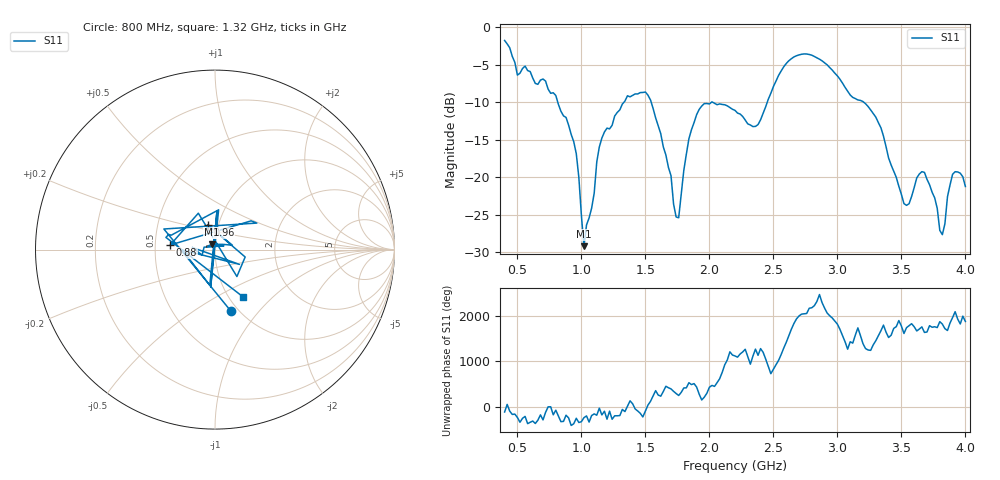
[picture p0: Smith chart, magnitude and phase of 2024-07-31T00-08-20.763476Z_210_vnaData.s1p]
!Created with skrf (http://scikit-rf.org).
# Hz S RI R 50.0
!freq ReS11 ImS11
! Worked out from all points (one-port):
!   181 points, 400 MHz to 4 GHz, reference 50 ohm
!   lowest |S11| = -29.2 dB at 1.02 GHz (marker M1), VSWR 1.07, Z = 48.1 + j2.85 ohm
!   |S11| at or under -10 dB: 815.7 MHz to 1.331 GHz (515.5 MHz wide, 48 % of centre); 1.546 GHz to 2.015 GHz (469.3 MHz wide, 26.4 % of centre); 3.207 GHz to end of sweep (the widest 3 of 4)
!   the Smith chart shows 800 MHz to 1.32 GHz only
!   S11 on the Smith chart (normalised r, x): 800 MHz: 0.92, -0.72; 880 MHz: 0.60, +0.03; 960 MHz: 0.89, +0.25; 1.32 GHz: 1.16, -0.68
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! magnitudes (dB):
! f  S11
! 400 MHz  -1.7
! 500 MHz  -6.4
! 560 MHz  -5.2
! 800 MHz  -9.1
! 860 MHz  -11.8
! 880 MHz  -12.0
! 960 MHz  -16.8
! 1.02 GHz  -29.2
! 1.1 GHz  -22.1
! 1.14 GHz  -15.9
! 1.3 GHz  -11.0
! 1.32 GHz  -10.2
! 1.54 GHz  -9.7
! 1.76 GHz  -25.4
! 1.84 GHz  -14.8
! 1.92 GHz  -10.9
! 2.2 GHz  -11.1
! 2.38 GHz  -13.0
! 2.66 GHz  -3.9
! 2.88 GHz  -4.4
! 3.1 GHz  -9.0
! 3.3 GHz  -12.0
! 3.52 GHz  -23.5
! 3.56 GHz  -23.5
! 3.68 GHz  -19.3
! 3.82 GHz  -27.7
! 3.9 GHz  -19.6
! 4 GHz  -21.2
